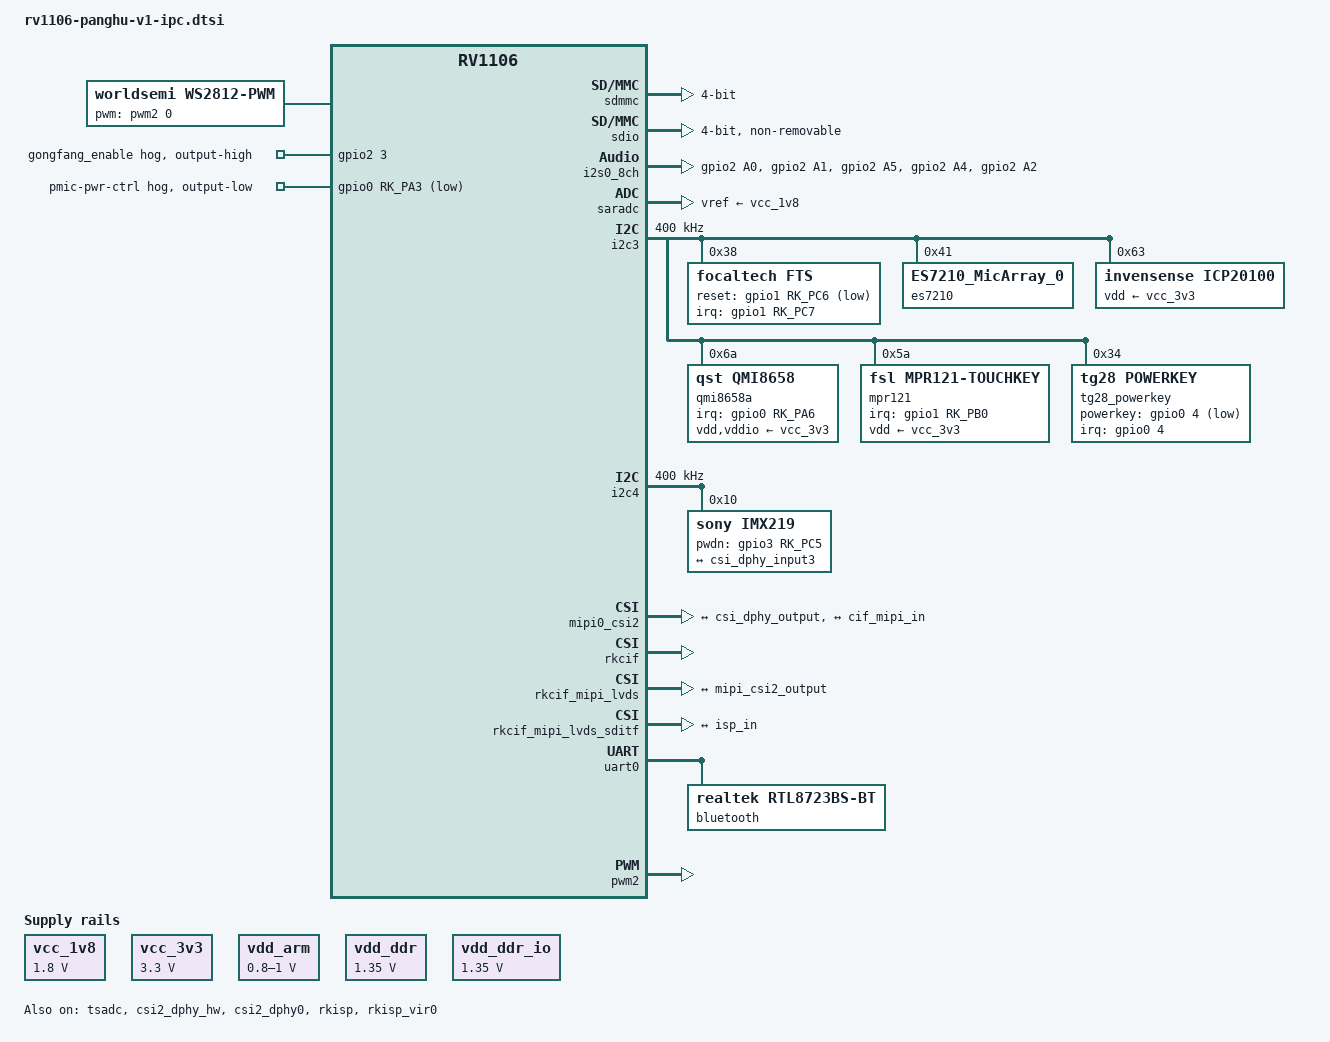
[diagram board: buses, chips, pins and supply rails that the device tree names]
// SPDX-License-Identifier: (GPL-2.0+ OR MIT)
/*
 * Copyright (c) 2022 Rockchip Electronics Co., Ltd.
 */
#include "rv1106-amp.dtsi"

/ {
	chosen {
		bootargs = "earlycon=uart8250,mmio32,0xff4c0000 console=ttyFIQ0 root=/dev/mmcblk1p7 rootwait snd_soc_core.prealloc_buffer_size_kbytes=16 coherent_pool=0 snd_soc_core.disable_offload=0 log_buf_len=1M mmc.debug=1";
	};

	reserved_memory: reserved-memory {
		#address-cells = <1>;
		#size-cells = <1>;
		ranges;
		
		drm_logo: drm-logo@00000000 {
			compatible = "rockchip,drm-logo";
			reg = <0x0 0x0>;
		};
		
		rkisp_reserved: rkisp@0 {
			compatible = "shared-dma-pool";
			inactive;
			reusable;
			size = <0x800000>; //8M for ISP
		};
		
		linux,cma {
			status = "okay";
			compatible = "shared-dma-pool";
			inactive;
			reusable;
			size = <0xA00000>; //10M
			linux,cma-default;
		};
	};

	max98357a: max98357a {
        compatible = "maxim,max98357a";
        #sound-dai-cells = <0>;
        sdmode-gpios = <&gpio0 RK_PB6 GPIO_ACTIVE_HIGH>;
        status = "disabled";
    };

	dmic_codec: dmic-codec {
        #sound-dai-cells = <0>;
        compatible = "dmic-codec";
        num-channels = <2>;
        status = "disabled";
    };

	sound-master {
		status = "disabled";
    	compatible = "simple-audio-card";
    	simple-audio-card,name = "RK-Audio-I2S"; // 声卡名称，可以自定义
    	simple-audio-card,mclk-fs = <256>;

    	// 麦克风捕获链路 (INMP441)
    	simple-audio-card,dai-link@0 {
    	    reg = <0>;                          // 链路编号，从0开始
    	    format = "i2s";                     // 格式与之前保持一致
    	    bitclock-master = <&cpu_dai>;       // CPU 做主控
    	    frame-master = <&cpu_dai>;

    	    cpu_dai: cpu {
    	        sound-dai = <&i2s0_8ch>;         // 指向你的I2S控制器
    	    };

    	    codec {
    	        sound-dai = <&dmic_codec>;       // 指向 INMP441
    	    };
    	};

    	// 功放播放链路 (MAX98357)
    	simple-audio-card,dai-link@1 {
    	    reg = <1>;                           // 链路编号
    	    format = "i2s";                       // MAX98357A 支持 I2S 格式 [citation:4]
    	    bitclock-master = <&cpu_dai_play>;    // CPU 做主控
    	    frame-master = <&cpu_dai_play>;

    	    cpu_dai_play: cpu {
    	        sound-dai = <&i2s0_8ch>;           // 指向同一个 I2S 控制器
    	    };

    	    codec {
    	        sound-dai = <&max98357a>;     // 指向 MAX98357
    	    };
    	};
	};

    sound-capture {
		status = "disabled";
        compatible = "simple-audio-card";
        simple-audio-card,name = "INMP441";
        simple-audio-card,format = "left_j";        // INMP441 使用左对齐格式
        simple-audio-card,channels = <2>;
		simple-audio-card,mclk-fs = <256>;
		simple-audio-card,bitclock-master = <&inmpcpu_dai>;
        simple-audio-card,frame-master = <&inmpcpu_dai>;

        inmpcpu_dai: simple-audio-card,cpu {
            sound-dai = <&i2s0_8ch>;
        };

        codec_dai: simple-audio-card,codec {
            sound-dai = <&dmic_codec>;
        };
    };

	sound-playback {
		status = "disabled";
        compatible = "simple-audio-card";
        simple-audio-card,name = "RV1106-MAX98357A";
        simple-audio-card,format = "i2s";
        simple-audio-card,cpu {
            sound-dai = <&i2s0_8ch>;
        };
        simple-audio-card,codec {
            sound-dai = <&max98357a>;
        };
    };

	es8311_es7210_sound: es8311-es7210-sound {
		status = "disabled";
		compatible = "rockchip,multicodecs-card";
		rockchip,card-name = "rv1106_sound";
		rockchip,mclk-fs = <256>;
		rockchip,cpu = <&i2s0_8ch>;
		rockchip,codec = <&es7210>, <&es8311>;
		rockchip,audio-routing =
			"Speaker", "DIFFERENTIAL OUT";
		dai-link@0 {
			rockchip,format = "dsp_a";
			rockchip,mclk-fs = <256>;
    	    rockchip,bitclock-master = <&sound_cpu0>;
    	    rockchip,frame-master    = <&sound_cpu0>;
			rockchip,capture = <1>;
    	    sound_cpu0: cpu {
            	sound-dai = <&i2s0_8ch>;
            	dai-tdm-slot-num = <4>;
            	dai-tdm-slot-width = <32>;
				dai-tdm-slot-rx-mask = <1 1 1 1>;
    	    };
    	    codec0: codec {
            	sound-dai = <&es7210>;
				rockchip,channels = <4>;
    	    };
    	};
		dai-link@1 {
			rockchip,format = "dsp_a";
			rockchip,mclk-fs = <256>;
        	rockchip,bitclock-master = <&sound_cpu1>;
        	rockchip,frame-master    = <&sound_cpu1>;
			rockchip,playback = <1>;
        	sound_cpu1: cpu {
            	sound-dai = <&i2s0_8ch>;
            	dai-tdm-slot-num = <4>;
            	dai-tdm-slot-width = <32>;
				dai-tdm-slot-tx-mask = <1 0 0 0>;
        	};
        	codec1: codec {
            	sound-dai = <&es8311>;
				rockchip,channels = <1>;
        	};
    	};
	};

	es7210_sound: es7210-sound {
		status = "okay";
		compatible = "simple-audio-card";
		simple-audio-card,format = "dsp_a";
		simple-audio-card,mclk-fs = <256>;
		simple-audio-card,name = "rockchip-es7210";
		simple-audio-card,bitclock-master = <&i2s0_8ch>;
		simple-audio-card,frame-master = <&i2s0_8ch>;
		simple-audio-card,cpu {
			sound-dai = <&i2s0_8ch>;
			dai-tdm-slot-num = <4>;
			dai-tdm-slot-width = <32>;
			dai-tdm-slot-rx-mask = <1 1 1 1>;
		};
		simple-audio-card,codec {sound-dai = <&es7210>;};
	};

	es8311_sound: es8311-sound {
        status = "disabled";
        compatible = "simple-audio-card";
        simple-audio-card,name = "rockchip-es8311";
		simple-audio-card,format = "i2s";
		simple-audio-card,mclk-fs = <256>;
		simple-audio-card,bitclock-master = <&i2s0_8ch>;
		simple-audio-card,frame-master = <&i2s0_8ch>;
		rockchip,audio-routing =
			"Headphone", "DIFFERENTIAL OUT",
			"Speaker", "DIFFERENTIAL OUT",
			"AMIC", "Main Mic";
		simple-audio-card,cpu {
			sound-dai = <&i2s0_8ch>;
		};
		simple-audio-card,codec {
			sound-dai = <&es8311>;
		};
    };

	es8389_sound: es8389-sound {
		status = "disabled";
		compatible = "simple-audio-card";
		simple-audio-card,name = "rv1106_8389_sound";
		simple-audio-card,format = "i2s";
		simple-audio-card,mclk-fs = <256>;
		simple-audio-card,bitclock-master = <&i2s0_8ch>;
		simple-audio-card,frame-master = <&i2s0_8ch>;
		rockchip,audio-routing =
			/* 双声道立体声喇叭输出 - 左声道和右声道分别连接到LOUT2和ROUT2 */
			"Speaker", "LOUT2",
			"Speaker", "ROUT2",
			"Speaker", "Speaker Power",
			"Speaker", "Speaker Power",
			/* 两个单端麦克风输入 - 左麦克风连接到LINPUT1，右麦克风连接到RINPUT1 */
			"LINPUT1", "Left Mic",
			"RINPUT1", "Right Mic";
		simple-audio-card,cpu {sound-dai = <&i2s0_8ch>;};
		simple-audio-card,codec {sound-dai = <&es8389>;};
	};

	vcc_1v8: vcc-1v8 {
		compatible = "regulator-fixed";
		regulator-name = "vcc_1v8";
		regulator-always-on;
		regulator-boot-on;
		regulator-min-microvolt = <1800000>;
		regulator-max-microvolt = <1800000>;
	};

	vcc_3v3: vcc-3v3 {
		compatible = "regulator-fixed";
		regulator-name = "vcc_3v3";
		regulator-always-on;
		regulator-boot-on;
		regulator-min-microvolt = <3300000>;
		regulator-max-microvolt = <3300000>;
	};

	vdd_arm: vdd-arm {
		compatible = "regulator-fixed";
		regulator-name = "vdd_arm";
		regulator-min-microvolt = <800000>;
		regulator-max-microvolt = <1000000>;
		regulator-init-microvolt = <900000>;
		regulator-always-on;
		regulator-boot-on;
	};

	vdd_ddr: vdd-ddr {
		compatible = "regulator-fixed";
		regulator-name = "vdd_ddr";
		regulator-min-microvolt = <1350000>;
		regulator-max-microvolt = <1350000>;
		regulator-always-on;
		regulator-boot-on;
	};

	vdd_ddr_io: vdd-ddr-io {
		compatible = "regulator-fixed";
		regulator-name = "vdd_ddr_io";
		regulator-min-microvolt = <1350000>;
		regulator-max-microvolt = <1350000>;
		regulator-always-on;
		regulator-boot-on;
	};

	ws2812 {
		compatible = "worldsemi,ws2812-pwm";
		pwms = <&pwm2 0 1250 0>;  /* PWM2, 周期1250ns (800kHz) */
		status = "okay";
	};
};

/**********SDMMC**********/
&sdmmc {
	status = "okay";
	max-frequency = <50000000>;
	no-sdio;
	no-mmc;
	bus-width = <4>;
	cap-mmc-highspeed;
	cap-sd-highspeed;
	disable-wp;
	pinctrl-names = "default";
	pinctrl-0 = <&sdmmc0_clk &sdmmc0_cmd &sdmmc0_det &sdmmc0_bus4>;
};

/***********mmc interface for wifi map to sdio set for sdio mode**********/
&sdio {
	status = "okay";
	max-frequency = <50000000>; // 最大运行频率不超过 150Mhz; SDIO2.0 卡最大 50M，SDIO3.0 最大支持 150M
	bus-width = <4>;             // 4线数据模式

	cap-sd-highspeed;            // 此配置同 SD 卡功能，作为 SDIO 外设，也有区分是否为 highspeed 的 SDIO 外设。
	cap-sdio-irq;                // 此配置标识该 SDIO 外设(通常是 Wifi)是否支持 sdio 中断
	keep-power-in-suspend;       // 此配置表示是否支持睡眠不断电，请默认加入该选项。Wifi 一般都有深度唤醒的要求。
	non-removable;               // 此项表示该插槽为不可移动设备且此项为 SDIO 设备必须添加项。        
	no-1-8-v;
	supports-sdio;               // 标识此插槽为 SDIO 功能，为必须添加项。否则无法初始化 SDIO 外设。
	
	pinctrl-names = "default", "sleep";
	pinctrl-0 = <&sdmmc1m1_clk &sdmmc1m1_cmd &sdmmc1m1_bus4>; // rv1106-pinctrl.dtsi
	pinctrl-1 = <&sdmmc1m1_idle_pins>;
};

/***************************** AUDIO ********************************/
&i2s0_8ch {
	status = "okay";
	rockchip,clk-trcm = <1>;
	rockchip,io-multiplex = <1>;
	rockchip,tdm-chip-delay = <0>;
	pinctrl-names = "default";
	pinctrl-0 = <&i2s0_sclk &i2s0_lrck &i2s0_sdi0 &i2s0_sdo0 &i2s0_mclk>;
	assigned-clocks = <&cru MCLK_I2S0_8CH_TX>;
	assigned-clock-rates = <12288000>;
	#sound-dai-cells = <0>;
};

/***************************** CPU ********************************/
&cpu0 {
	cpu-supply = <&vdd_arm>;
};

/***************************** ADC ********************************/
&saradc {
	status = "okay";
	vref-supply = <&vcc_1v8>;
};

&tsadc {
	status = "okay";
};

/***************************** CSI ********************************/
&csi2_dphy_hw {
	status = "okay";
};

&csi2_dphy0 {
	status = "okay";

	ports {
		#address-cells = <1>;
		#size-cells = <0>;

		port@0 {
			reg = <0>;
			#address-cells = <1>;
			#size-cells = <0>;

			csi_dphy_input3: endpoint@3 {
				reg = <3>;
				remote-endpoint = <&imx219_out>;
				data-lanes = <1 2>;
			};

		};

		port@1 {
			reg = <1>;
			#address-cells = <1>;
			#size-cells = <0>;

			csi_dphy_output: endpoint@0 {
				reg = <0>;
				remote-endpoint = <&mipi_csi2_input>;
			};
		};
	};
};

&i2c3 {
	status = "okay";
	clock-frequency = <400000>;
	pinctrl-names = "default";
	pinctrl-0 = <&i2c3m1_xfer>;

	focaltech@38 { 
		compatible = "focaltech,fts";	
		reg = <0x38>;  					
		interrupt-parent = <&gpio1>;				
		interrupts = <RK_PC7 IRQ_TYPE_EDGE_FALLING>;
		focaltech,reset-gpio = <&gpio1 RK_PC6 GPIO_ACTIVE_LOW>;
		focaltech,irq-gpio = <&gpio1 RK_PC7 IRQ_TYPE_LEVEL_LOW>; 

		focaltech,max-touch-number = <5>;			
		focaltech,display-coords =  <0 0 240 320>;
		focaltech,rotate = <270>;
	};

	es7210: es7210@41{
		status = "okay";
		#sound-dai-cells = <0>;
		compatible = "ES7210_MicArray_0";
		reg = <0x41>;
		clocks = <&cru MCLK_I2S0_8CH_TX>;
		clock-names = "mclk";
		assigned-clocks = <&cru MCLK_I2S0_8CH_TX>;
		assigned-clock-rates = <12288000>;
	};

	es7210_1: es7210_1@41{
		status = "disabled";
		#sound-dai-cells = <0>;
		compatible = "ES7210_MicArray_1";
		reg = <0x41>;
	};

	es8311: es8311@18{
		status = "disabled";
		compatible = "everest,es8311";
		reg = <0x18>;
		clocks = <&cru MCLK_I2S0_8CH_TX>;
		clock-names = "mclk";
		assigned-clocks = <&cru MCLK_I2S0_8CH_TX>;
		assigned-clock-rates = <12288000>;
		#sound-dai-cells = <0>;
	};

	es8389: es8389@10{
		status = "disabled";
		compatible = "everest,es8389";
		reg = <0x10>;
		clocks = <&cru MCLK_I2S0_8CH_TX>;
		clock-names = "mclk";
		assigned-clocks = <&cru MCLK_I2S0_8CH_TX>;
		assigned-clock-rates = <12288000>;
		#sound-dai-cells = <0>;
	};

	icp20100: icp20100@63 {
		status = "okay";
		compatible = "invensense,icp20100";
		reg = <0x63>;
		vdd-supply = <&vcc_3v3>;  /* 电源供应 */
	};

	qmi8658a: qmi8658a@6a{
		status = "okay";
		compatible = "qst,qmi8658";
		reg = <0x6a>;
		qst,layout = <0x01>;
		qst,auto-report;
		vdd-supply = <&vcc_3v3>;
		vddio-supply = <&vcc_3v3>;
		interrupt-parent = <&gpio0>;
		interrupts = <RK_PA6 IRQ_TYPE_EDGE_RISING>;
		interrupt-names = "INT1";
		mount-matrix = "1", "0", "0",
			       "-1", "0", "0",
			       "0", "0", "1";
	};

	mpr121: mpr121@5a {
		status = "okay";
		compatible = "fsl,mpr121-touchkey";
		reg = <0x5a>;
		interrupt-parent = <&gpio1>;
		interrupts = <RK_PB0 IRQ_TYPE_EDGE_FALLING>;  /* 下降沿触发，与驱动代码一致 */
		interrupt-names = "touchkey";
		vdd-supply = <&vcc_3v3>;
		linux,keycodes = <KEY_1 KEY_2 KEY_3>;
		wakeup-source;
	};

	tg28_powerkey: tg28_powerkey@34 {
		status = "okay";
		compatible = "tg28,powerkey";  // 必须与驱动of_match_table一致
		reg = <0x34>;                  // TG28的I2C地址（需与硬件一致）
			
		// 绑定pinctrl配置
		pinctrl-names = "default";
		pinctrl-0 = <&key_custom_pins>;
			
		
		interrupt-parent = <&gpio0>;
		interrupts = <4 IRQ_TYPE_EDGE_FALLING>;  // 
		interrupt-names = "powerkey-int";
			
		
		powerkey-gpio = <&gpio0 4 GPIO_ACTIVE_LOW>;  // 
			
		// 自定义参数（驱动中解析）
		key-short-press-ms = <50>;
		key-long-press-ms = <1000>;
		key-double-click-ms = <300>;
		key-debounce-ms = <20>;
	};
};

&i2c4 {
	status = "okay";
	clock-frequency = <400000>;
	pinctrl-names = "default";
	pinctrl-0 = <&i2c4m2_xfer>;

	imx219: imx219@10 {
		compatible = "sony,imx219";
		status = "okay";
		reg = <0x10>;

		clocks = <&cru MCLK_REF_MIPI0>;


		clock-names = "xvclk";
		assigned-clocks = <&cru MCLK_REF_MIPI0>;
        assigned-clock-rates = <24000000>;

		pwdn-gpios = <&gpio3 RK_PC5 GPIO_ACTIVE_HIGH>;

		pinctrl-names = "default";
		pinctrl-0 = <&mipi_refclk_out0>;
		rockchip,camera-module-index = <0>;
		rockchip,camera-module-facing = "back";
		rockchip,camera-module-name = "default";
		rockchip,camera-module-lens-name = "default";
		
		port {
			imx219_out: endpoint {
				remote-endpoint = <&csi_dphy_input3>;
				data-lanes = <1 2>;
				link-frequencies = /bits/ 64 <456000000>;
			};
		};
	};
};

&mipi0_csi2 {
	status = "okay";

	ports {
		#address-cells = <1>;
		#size-cells = <0>;

		port@0 {
			reg = <0>;
			#address-cells = <1>;
			#size-cells = <0>;

			mipi_csi2_input: endpoint@1 {
				reg = <1>;
				remote-endpoint = <&csi_dphy_output>;
			};
		};

		port@1 {
			reg = <1>;
			#address-cells = <1>;
			#size-cells = <0>;

			mipi_csi2_output: endpoint@0 {
				reg = <0>;
				remote-endpoint = <&cif_mipi_in>;
			};
		};
	};
};

&rkcif {
	status = "okay";
};

&rkcif_mipi_lvds {
	status = "okay";

	pinctrl-names = "default";
	pinctrl-0 = <&mipi_pins>;
	port {
		/* MIPI CSI-2 endpoint */
		cif_mipi_in: endpoint {
			remote-endpoint = <&mipi_csi2_output>;
		};
	};
};

&rkcif_mipi_lvds_sditf {
	status = "okay";

	port {
		/* MIPI CSI-2 endpoint */
		mipi_lvds_sditf: endpoint {
			remote-endpoint = <&isp_in>;
		};
	};
};

&rkisp {
	status = "okay";
	memory-region = <&rkisp_reserved>;
};  

&rkisp_vir0 {
	status = "okay";

	port@0 {
		isp_in: endpoint {
			remote-endpoint = <&mipi_lvds_sditf>;
		};
	};
};


/*****************************PINCTRL********************************/
// UART bluetooth
&uart0 {
	status = "okay";
	pinctrl-names = "default";
	pinctrl-0 = <&uart0m1_xfer &uart0m1_rtsn &uart0m1_ctsn>;
	dma-names = "tx", "rx";
	
	bluetooth {
		compatible = "realtek,rtl8723bs-bt";
		max-speed = <1500000>;
		status = "okay";
	};
};

&pwm2{
	status = "okay";  /* 启用PWM2，用于WS2812 PWM+DMA控制 */
	pinctrl-0 = <&pwm2m0_pins>;  /* 配置为PWM2M0模式，对应GPIO0A1 */
};

//i2s
&pinctrl {
	// I2S0 M0 引脚配置
	i2s0 {
		i2s0_sclk: i2s0-sclk {
			rockchip,pins = <2 RK_PA0 2 &pcfg_pull_none>;
		};
		
		i2s0_lrck: i2s0-lrck {
			rockchip,pins = <2 RK_PA1 2 &pcfg_pull_none>;
		};

		i2s0_sdo0: i2s0-sdo0 {
			rockchip,pins = <2 RK_PA4    2 &pcfg_pull_none>;
		};

		i2s0_mclk: i2s0-mclk {
			rockchip,pins = <2 RK_PA2 2 &pcfg_pull_none>;
		};
		
		i2s0_sdi0: i2s0-sdi0 {
			rockchip,pins = <2 RK_PA5 2 &pcfg_pull_none>;
		};		
	};

	key_custom {
		key_custom_pins: key_custom_pins {
			rockchip,pins =
				<0 RK_PA4 0 &pcfg_pull_up>;
		};
	};
};

//功放
&gpio2 {
    gongfang_gpio: gongfang-enable-gpio {
        gpio-hog;
        gpios = <3 GPIO_ACTIVE_HIGH>;
        output-high;
        line-name = "gongfang_enable";
    };
};

&gpio0 {
	pmic_pwr_ctrl_gpio: pmic-pwr-ctrl-gpio {
		gpio-hog;
        gpios = <RK_PA3 GPIO_ACTIVE_LOW>;
        output-low;
        line-name = "pmic-pwr-ctrl";
	};
};
